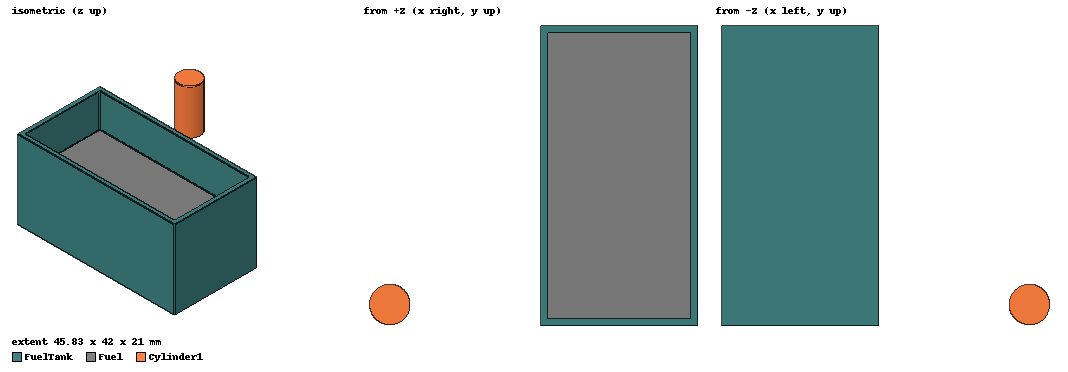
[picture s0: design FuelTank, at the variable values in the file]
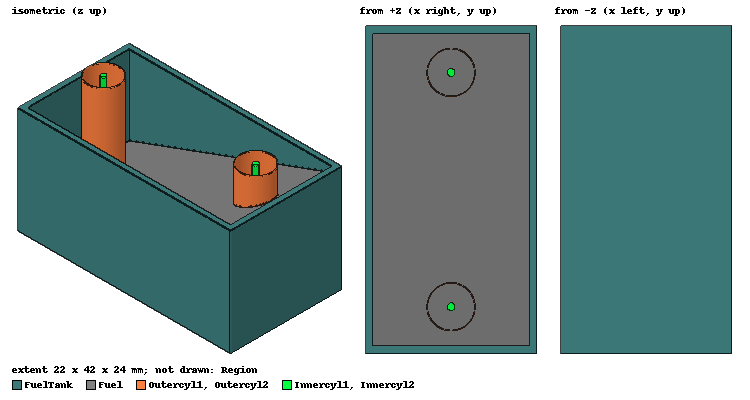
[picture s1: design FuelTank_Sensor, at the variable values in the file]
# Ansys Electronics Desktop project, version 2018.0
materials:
  JetFuel: permittivity=1.7 conductivity=1e-010
  steel_stainless: conductivity=1100000
  vacuum: permittivity=1
  copper: permeability=0.999991 conductivity=58000000

design FuelTank (Maxwell 3D, Electrostatic, model units mm)
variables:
  tank_W = 20mm
  tank_L = 40mm
  tank_H = 20mm
  TankThickness = 1mm
  inclination_angle = 0deg
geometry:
  Fuel [JetFuel] = box(corner=(-tank_W/2, - tank_L/2, -0.001), size=(tank_W, tank_L, tank_H))
  FuelTank [steel_stainless] = box(corner=(-(tank_W/2) - TankThickness, - (tank_L/2) - TankThickness, - 1e-3 - TankThickness), size=(tank_W + (TankThickness*2), tank_L + (TankThickness*2), tank_H + TankThickness))
  Fuel2 = box(corner=(-tank_W/2, - tank_L/2, -0.001), size=(tank_W, tank_L, tank_H))
  FuelTank.subtract(Fuel2)
  Fuel3 = box(corner=(-tank_W/2, - tank_L/2 - 10e-3, (tank_H/2)), size=(tank_W, tank_L + 20e-3, tank_H/2 + 50e-3))
  Fuel3.rotate(axis=X, angle=inclination_angle)
  Fuel.subtract(Fuel3)
  Cylinder1 [copper] = cylinder(axis=Z, base_centre=(-32mm, -18mm, 0mm), radius=2.8284271mm, height=12mm)
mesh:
  initial mesh: GlobalCurvilinear{Apply}
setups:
  Setup1: Electrostatic MeshLink{PathRelativeTo=TargetProject ApplyMeshOp} MaximumPasses=10 MinimumPasses=1 MinimumConvergedPasses=1 PercentRefinement=30 PercentError=1 NonLinearResidual=0.001

design FuelTank_Sensor (Maxwell 3D, Electrostatic, model units mm)
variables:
  tank_W = 20mm
  tank_L = 40mm
  tank_H = 20mm
  TankThickness = 1mm
  inclination_angle = 20deg
  b = 3mm
  a = 0.5mm
  d = 15mm
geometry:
  Fuel [JetFuel] = box(corner=(-tank_W/2, - tank_L/2, -0.001), size=(tank_W, tank_L, tank_H))
  FuelTank [steel_stainless] = box(corner=(-(tank_W/2) - TankThickness, - (tank_L/2) - TankThickness, - 1e-3 - TankThickness), size=(tank_W + (TankThickness*2), tank_L + (TankThickness*2), tank_H + TankThickness))
  Fuel2 = box(corner=(-tank_W/2, - tank_L/2, -0.001), size=(tank_W, tank_L, tank_H))
  FuelTank.subtract(Fuel2)
  Fuel3 = box(corner=(-tank_W/2, - tank_L/2 - 10e-3, (tank_H/2)), size=(tank_W, tank_L + 20e-3, tank_H/2 + 50e-3))
  Fuel3.rotate(axis=X, angle=inclination_angle)
  Fuel.subtract(Fuel3)
  Outercyl1 [copper] = cylinder(axis=Z, base_centre=(0mm, 0mm, 0mm), radius=b+0.1e-3, height=22mm)
  OuterCylsub = cylinder(axis=Z, base_centre=(0mm, 0mm, 0mm), radius=b, height=22mm)
  Outercyl1.subtract(OuterCylsub)
  Innercyl1 [copper] = cylinder(axis=Z, base_centre=(0mm, 0mm, 0mm), radius=a, height=22mm)
  [Innercyl1, Outercyl1].move(0mm, d, 0mm)
  Outercyl2 [copper] = cylinder(axis=Z, base_centre=(0mm, 0mm, 0mm), radius=b+0.1e-3, height=22mm)
  OuterCylsub1 = cylinder(axis=Z, base_centre=(0mm, 0mm, 0mm), radius=b, height=22mm)
  Outercyl2.subtract(OuterCylsub1)
  Outercyl2.move(0mm, -d, 0mm)
  Innercyl2 [copper] = cylinder(axis=Z, base_centre=(0mm, 0mm, 0mm), radius=a, height=22mm)
  Innercyl2.move(0mm, -d, 0mm)
  Innercyl1_1 = Innercyl1.copy()
  Innercyl2_1 = Innercyl2.copy()
  Outercyl1_1 = Outercyl1.copy()
  Outercyl2_1 = Outercyl2.copy()
  Fuel.subtract(Innercyl1_1, Innercyl2_1, Outercyl1_1, Outercyl2_1)
  Region [vacuum] = region(percentage_offset: +X=100, -X=100, +Y=100, -Y=100, +Z=0, -Z=0)
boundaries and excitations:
  InnerV1: Voltage Objects=Innercyl1 Voltage=10V
  OuterV1: Voltage Objects=Outercyl1 Voltage=-10V
  InnerV2: Voltage Objects=Innercyl2 Voltage=10V
  OuterV2: Voltage Objects=Outercyl2 Voltage=-10V
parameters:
  Matrix1: Matrix InnerV1, InnerV2, OuterV1, OuterV2: NumberOfTurns=1
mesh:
  initial mesh: GlobalCurvilinear{Apply}
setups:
  Setup1: Electrostatic MaximumPasses=10 MinimumPasses=1 MinimumConvergedPasses=1 PercentRefinement=30 PercentError=5 NonLinearResidual=0.001
